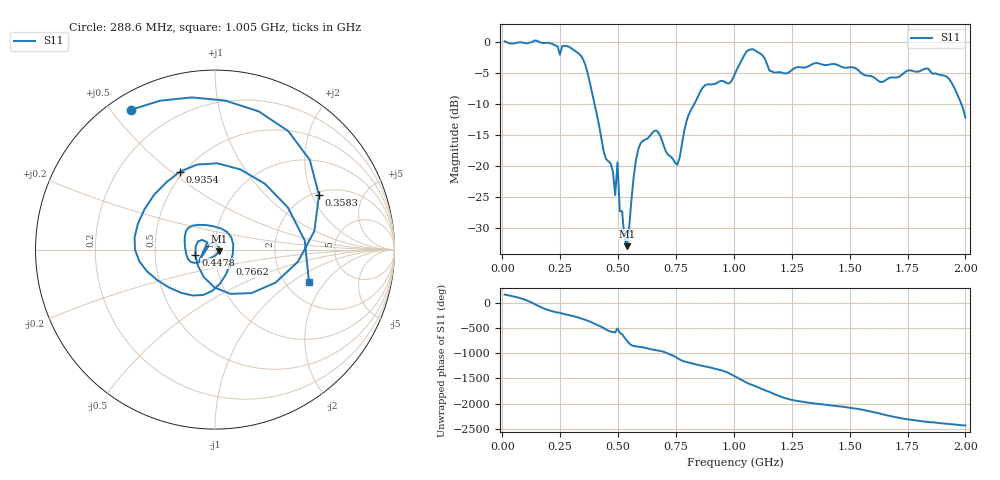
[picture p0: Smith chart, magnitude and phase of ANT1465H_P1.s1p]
!Created with skrf (http://scikit-rf.org).
# Hz S RI R 50.0
!freq ReS11 ImS11
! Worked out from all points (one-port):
!   201 points, 10 MHz to 2 GHz, reference 50 ohm
!   lowest |S11| = -33.0 dB at 537.4 MHz (marker M1), VSWR 1.05, Z = 52.1 - j0.883 ohm
!   |S11| at or under -10 dB: 398.1 MHz to 829.8 MHz (431.7 MHz wide, 70.3 % of centre); 1.982 GHz to end of sweep
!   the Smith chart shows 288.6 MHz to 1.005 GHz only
!   S11 on the Smith chart (normalised r, x): 288.6 MHz: 0.06, +0.56; 358.2 MHz: 2.13, +2.26; 447.8 MHz: 0.80, -0.05; 766.2 MHz: 1.17, -0.19; 935.4 MHz: 0.48, +0.54; 1.005 GHz: 2.68, -1.38
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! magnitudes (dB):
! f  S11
! 10 MHz  0.1
! 258.8 MHz  -0.7
! 288.6 MHz  -0.8
! 358.2 MHz  -3.7
! 447.8 MHz  -18.9
! 477.6 MHz  -20.9
! 487.6 MHz  -24.7
! 497.6 MHz  -19.5
! 507.5 MHz  -27.3
! 517.5 MHz  -27.3
! 537.4 MHz  -33.0
! 567.2 MHz  -21.9
! 597 MHz  -16.4
! 666.7 MHz  -14.3
! 756.2 MHz  -19.8
! 766.2 MHz  -18.7
! 796 MHz  -12.8
! 855.8 MHz  -8.0
! 935.4 MHz  -6.4
! 1.005 GHz  -5.1
! 1.075 GHz  -1.2
! 1.154 GHz  -4.7
! 1.254 GHz  -4.5
! 1.502 GHz  -4.1
! 1.632 GHz  -6.5
! 1.751 GHz  -4.6
! 1.92 GHz  -5.7
! 2 GHz  -12.2
